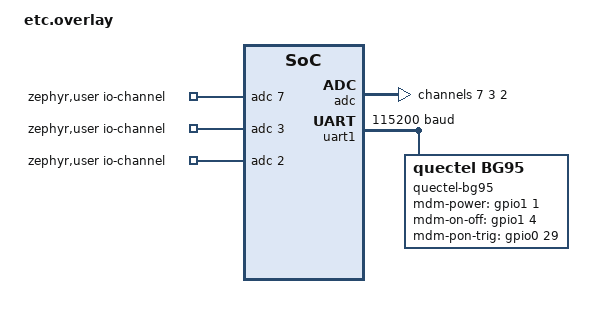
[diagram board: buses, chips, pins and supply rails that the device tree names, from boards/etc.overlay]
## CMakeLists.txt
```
cmake_minimum_required(VERSION 3.13.1)

set(CONFIG_APPLICATION_DEFINED_SYSCALL true)
find_package(Zephyr REQUIRED HINTS $ENV{ZEPHYR_BASE})

project(etc_modem_psm)

target_sources(app PRIVATE src/main.c
    src/etc_test.c
)
zephyr_cc_option(-Wfatal-errors)

zephyr_include_directories(src)
```

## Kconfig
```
menu "EXACT Core 2.0 Test Application"

config TEST_VERSION
	string "Test version"
	default "v1.0.0"

endmenu

menu "Zephyr Kernel"
source "$ZEPHYR_BASE/Kconfig.zephyr"
endmenu

module = ETC_MODEM_PSM
module-str = ETC Modem PSM
source "${ZEPHYR_BASE}/subsys/logging/Kconfig.template.log_config"
```

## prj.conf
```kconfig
# General config
CONFIG_ETC_MODEM_PSM_LOG_LEVEL_DBG=y
CONFIG_NEWLIB_LIBC=y
CONFIG_NEWLIB_LIBC_FLOAT_PRINTF=y
CONFIG_REBOOT=y
CONFIG_RESET_ON_FATAL_ERROR=n
CONFIG_FPU=y
CONFIG_FW_INFO=y

# Modem configuration
# Network
CONFIG_NETWORKING=y
CONFIG_NET_NATIVE=n
CONFIG_NET_IPV4=y
CONFIG_NET_IPV6=n
CONFIG_NRF_MODEM_LIB=n
CONFIG_NET_LOG=y

CONFIG_MODEM=y
CONFIG_MODEM_QUECTEL_BG95_M3=y
CONFIG_MODEM_QUECTEL_BG95_M3_APN="teal"
CONFIG_MODEM_LOG_LEVEL_DBG=y
CONFIG_MODEM_CONTEXT_VERBOSE_DEBUG=y
CONFIG_MODEM_SHELL=y
CONFIG_NET_SOCKETS=y
CONFIG_NET_SOCKETS_OFFLOAD=y
CONFIG_NET_SOCKETS_SOCKOPT_TLS=y
CONFIG_NET_SOCKETS_OFFLOAD_TLS=y

# Disable boot banner. printk outputs get dropped w/ usbcdc
CONFIG_BOOT_BANNER=n

# Heap and stacks
CONFIG_HEAP_MEM_POOL_SIZE=4096
CONFIG_MAIN_STACK_SIZE=4096
CONFIG_SYSTEM_WORKQUEUE_STACK_SIZE=2048

CONFIG_LOG=y

# Heap and stacks
CONFIG_HW_STACK_PROTECTION=y

# Settings, needed for Azure Device Provisioning Service
CONFIG_FLASH=y
CONFIG_FLASH_MAP=y
CONFIG_FCB=y
CONFIG_MPU_ALLOW_FLASH_WRITE=y

# Flash Settings
CONFIG_FLASH=y
CONFIG_FLASH_PAGE_LAYOUT=y
CONFIG_SOC_FLASH_NRF_UICR=y
CONFIG_FLASH_MAP=y
CONFIG_MPU_ALLOW_FLASH_WRITE=y
CONFIG_FLASH_JESD216_API=y
CONFIG_SPI=y
CONFIG_SPI_NOR=y

CONFIG_BQ24195=y
CONFIG_PCF85263=y
CONFIG_DS18B20_TIMER=y

# GUI over LED
CONFIG_UI_MODULE=y
CONFIG_UI_LED_USE_PWM=y
CONFIG_UI_LOG_LEVEL_DBG=y

CONFIG_SHELL=y
CONFIG_SHELL_LOG_LEVEL_INF=y

CONFIG_USB_DEVICE_STACK=y
CONFIG_USB_DEVICE_PRODUCT="ETC USB Shell"
CONFIG_SHELL_BACKEND_SERIAL_CHECK_DTR=y
CONFIG_UART_CONSOLE=y
CONFIG_CONSOLE=y
CONFIG_UART_LINE_CTRL=y
CONFIG_SHELL_BACKEND_SERIAL_INIT_PRIORITY=51

CONFIG_LORA=y
CONFIG_LORA_SX12XX=y

CONFIG_ADC=y
CONFIG_PWM=y
CONFIG_I2C=y

CONFIG_SENSOR=y
```

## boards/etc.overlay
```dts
/ {
	chosen {
		nordic,pm-ext-flash = &mx25r1635;
		zephyr,shell-uart = &cdc_acm_uart0;
		zephyr,console = &cdc_acm_uart0;
	};
};

/* A7 = P0.31 = AIN7 - ADC_AMB */ 
/* A3 = P0.5  = AIN3 - ADC_BATT*/
/* A2 = P0.4 =  AIN2 -  ADC_TH*/
/ {
	zephyr,user {
		/* adjust channel number according to pinmux in board.dts */
		io-channels = <&adc 7>, <&adc 3>, <&adc 2>;
	};
};

&adc {
	#address-cells = <1>;
	#size-cells = <0>;

	channel@7 {
		reg = <7>;
		zephyr,gain = "ADC_GAIN_1_6";
		zephyr,reference = "ADC_REF_INTERNAL";
		zephyr,acquisition-time = <ADC_ACQ_TIME_DEFAULT>;
		zephyr,input-positive = <NRF_SAADC_AIN7>; 
		zephyr,resolution = <12>;
		zephyr,oversampling = <8>;
	};

	channel@3 {
		reg = <3>;
		zephyr,gain = "ADC_GAIN_1_6";
		zephyr,reference = "ADC_REF_INTERNAL";
		zephyr,acquisition-time = <ADC_ACQ_TIME_DEFAULT>;
		zephyr,input-positive = <NRF_SAADC_AIN3>;
		zephyr,resolution = <12>;
		zephyr,oversampling = <8>;
	};

	channel@2 {
		reg = <2>;
		zephyr,gain = "ADC_GAIN_1_6";
		zephyr,reference = "ADC_REF_INTERNAL";
		zephyr,acquisition-time = <ADC_ACQ_TIME_DEFAULT>;
		zephyr,input-positive = <NRF_SAADC_AIN2>;
		zephyr,resolution = <12>;
		zephyr,oversampling = <8>;
	};
};

&uart1 {
	compatible = "nordic,nrf-uarte";
	status = "okay";
	label = "UART_1";
	current-speed = <115200>;
	pinctrl-0 = <&uart1_default>;
	pinctrl-1 = <&uart1_sleep>;
	pinctrl-names = "default", "sleep";

	quectel_bg95 {
		compatible = "quectel,bg95";
		label      = "quectel-bg95";
		status     = "okay";
		mdm-power-gpios = <&gpio1 1 0>;
		mdm-on-off-gpios = <&gpio1 4 0>;
		mdm-pon-trig-gpios = <&gpio0 29 0>;
	};
};
```

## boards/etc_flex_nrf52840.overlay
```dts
/ {
	chosen {
		nordic,pm-ext-flash = &mx25r1635;
		zephyr,shell-uart = &cdc_acm_uart0;
		zephyr,console = &cdc_acm_uart0;
	};
};

/* A7 = P0.31 = AIN7 - ADC_AMB */ 
/* A3 = P0.5  = AIN3 - ADC_BATT*/
/* A2 = P0.4 =  AIN2 -  ADC_TH*/
/ {
	zephyr,user {
		/* adjust channel number according to pinmux in board.dts */
		io-channels = <&adc 7>, <&adc 3>, <&adc 2>;
	};
};

&adc {
	#address-cells = <1>;
	#size-cells = <0>;

	channel@7 {
		reg = <7>;
		zephyr,gain = "ADC_GAIN_1_6";
		zephyr,reference = "ADC_REF_INTERNAL";
		zephyr,acquisition-time = <ADC_ACQ_TIME_DEFAULT>;
		zephyr,input-positive = <NRF_SAADC_AIN7>; 
		zephyr,resolution = <12>;
		zephyr,oversampling = <8>;
	};

	channel@3 {
		reg = <3>;
		zephyr,gain = "ADC_GAIN_1_6";
		zephyr,reference = "ADC_REF_INTERNAL";
		zephyr,acquisition-time = <ADC_ACQ_TIME_DEFAULT>;
		zephyr,input-positive = <NRF_SAADC_AIN3>;
		zephyr,resolution = <12>;
		zephyr,oversampling = <8>;
	};

	channel@2 {
		reg = <2>;
		zephyr,gain = "ADC_GAIN_1_6";
		zephyr,reference = "ADC_REF_INTERNAL";
		zephyr,acquisition-time = <ADC_ACQ_TIME_DEFAULT>;
		zephyr,input-positive = <NRF_SAADC_AIN2>;
		zephyr,resolution = <12>;
		zephyr,oversampling = <8>;
	};
};

&uart1 {
	compatible = "nordic,nrf-uarte";
	status = "okay";
	label = "UART_1";
	current-speed = <115200>;
	pinctrl-0 = <&uart1_default>;
	pinctrl-1 = <&uart1_sleep>;
	pinctrl-names = "default", "sleep";

	quectel_bg95 {
		compatible = "etc,quectel-bg95";
		label      = "quectel-bg95";
		status     = "okay";
		mdm-power-gpios = <&gpio1 1 0>;
		mdm-on-off-gpios = <&gpio1 4 0>;
		mdm-pon-trig-gpios = <&gpio0 29 0>;
	};
};
```

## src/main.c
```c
#include <zephyr.h>
#include <shell/shell.h>
#include <version.h>
#include <logging/log.h>
#include <stdlib.h>
#include <drivers/uart.h>
#include <drivers/gpio.h>
#include <usb/usb_device.h>
#include <ctype.h>

#include <logging/log.h>
LOG_MODULE_REGISTER(main, CONFIG_ETC_MODEM_PSM_LOG_LEVEL);

BUILD_ASSERT(DT_NODE_HAS_COMPAT(DT_CHOSEN(zephyr_console), zephyr_cdc_acm_uart),
	     "Console device is not ACM CDC UART device");

#define LTE_PSM_IND_PIN	2

struct psm_ind {
	/* 1 rising, 0 falling */
	uint8_t edge;
	struct k_work work;
};

const struct device * gpio_0 = NULL;

static struct gpio_callback psm_ind_gpio_callback;
struct psm_ind psm_ind;

static void psm_ind_work_fn(struct k_work *work)
{
	struct psm_ind *data = 
		CONTAINER_OF(work, struct psm_ind, work);
	
	if (!data->edge) {
		LOG_INF("PSM entered.");
	} else {
		LOG_INF("Woken up from PSM.");
	}
}

static void psm_ind_callback(const struct device *dev,
			     struct gpio_callback *cb, uint32_t pins)
{
	psm_ind.edge = gpio_pin_get(gpio_0, LTE_PSM_IND_PIN);
	k_work_submit(&psm_ind.work);
}

static void app_modem_init(void) {
	int ret;

	gpio_0 = device_get_binding("GPIO_0");

	if (!device_is_ready(gpio_0)) {
		LOG_ERR("GPIO 0 is not ready");
		return;
	}
	
	gpio_pin_configure(gpio_0, LTE_PSM_IND_PIN, GPIO_INPUT);
	gpio_init_callback(&psm_ind_gpio_callback, psm_ind_callback,
			   BIT(LTE_PSM_IND_PIN));
	ret = gpio_add_callback(gpio_0, &psm_ind_gpio_callback);
	if (ret < 0) {
		LOG_ERR("Failed to set gpio callback!");
		return;
	}

	ret = gpio_pin_interrupt_configure(gpio_0, LTE_PSM_IND_PIN,
					  GPIO_INT_EDGE_BOTH);
					
	k_work_init(&psm_ind.work, psm_ind_work_fn);
}


void main(void)
{
	uint32_t dtr = 0;
	const struct device *dev = DEVICE_DT_GET(DT_CHOSEN(zephyr_shell_uart));
	if (!device_is_ready(dev) || usb_enable(NULL)) {
		return;
	}

	while (!dtr) {
		uart_line_ctrl_get(dev, UART_LINE_CTRL_DTR, &dtr);
		k_sleep(K_MSEC(100));
	}

	app_modem_init();
	while(1) {
		k_sleep(K_MSEC(100));
	}
}
```

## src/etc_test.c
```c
#include <zephyr.h>
#include <shell/shell.h>
#include <version.h>
#include <logging/log.h>
#include <stdlib.h>
#include <drivers/uart.h>
#include <drivers/lora.h>
#include <usb/usb_device.h>
#include <ctype.h>
#include <device.h>
#include <drivers/gpio.h>

#include "modem_api.h"


#include <logging/log.h>
LOG_MODULE_REGISTER(test, CONFIG_ETC_MODEM_PSM_LOG_LEVEL);


static int cmd_psm_enable(const struct shell *shell, size_t argc, char **argv) 
{
	int ret;
	
	ret = quectel_bg95_psm(true);
	if (ret < 0) {
		shell_print(shell, "Error requesting PSM.");
	}

	return ret;
}

static int cmd_psm_disable(const struct shell *shell, size_t argc, char **argv) 
{
	int ret;
	
	ret = quectel_bg95_psm(false);
	if (ret < 0) {
		shell_print(shell, "Error disabling PSM.");
	}

	return ret;
}

static int cmd_psm_get_timers(const struct shell *shell, size_t argc, char **argv)
{
	int ret;
	
	ret = quectel_bg95_get_psm_timers();
	if (ret < 0) {
		shell_print(shell, "Error requesting PSM timers");
	}

	return ret;
}

static int cmd_psm_request_wakeup(const struct shell *shell, size_t argc, char **argv)
{
	int ret;
	
	ret = quectel_bg95_psm_wakeup();
	if (ret < 0) {
		shell_print(shell, "Error requesting PSM wakeup");
	}

	return ret;
}

SHELL_STATIC_SUBCMD_SET_CREATE(
	psm_sub,
	SHELL_CMD(enable, NULL, "Enter PSM", cmd_psm_enable),
	SHELL_CMD(disable, NULL, "Disable PSM", cmd_psm_disable),
	SHELL_CMD(get, NULL, "Retrieve PSM Timers", cmd_psm_get_timers),
	SHELL_CMD(wakeup, NULL, "Wake up from PSM", cmd_psm_request_wakeup),
	SHELL_SUBCMD_SET_END
);

SHELL_CMD_REGISTER(psm, &psm_sub, "Modem PSM test commands", NULL);
```
